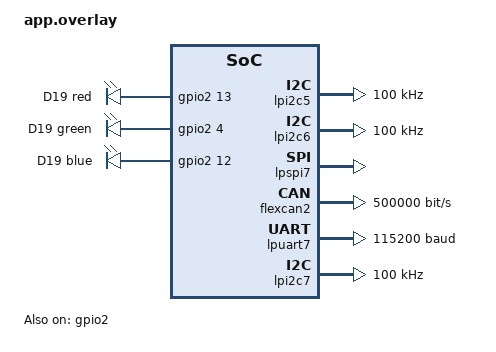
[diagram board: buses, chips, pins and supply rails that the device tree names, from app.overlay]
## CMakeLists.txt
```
# SPDX-License-Identifier: Apache-2.0

cmake_minimum_required(VERSION 3.20.0)
find_package(Zephyr REQUIRED HINTS $ENV{ZEPHYR_BASE})
project(xen_demo)

# The parts register themselves in an iterable section (src/part.h)
zephyr_linker_sources(SECTIONS src/parts.ld)

target_sources(app PRIVATE src/main.c)
target_sources_ifdef(CONFIG_I2C app PRIVATE src/i2c_scan.c)

# One file per part, compiled in with its Kconfig option (Kconfig)
target_sources_ifdef(CONFIG_EPP_LPI2C4 app PRIVATE src/i2c_display.c)
if(CONFIG_EPP_LPI2C5 OR CONFIG_EPP_LPI2C6 OR CONFIG_EPP_LPI2C7)
  target_sources(app PRIVATE src/i2c_header.c)
endif()
target_sources_ifdef(CONFIG_EPP_PCF8574 app PRIVATE src/pcf8574.c)
target_sources_ifdef(CONFIG_EPP_SPI_LOOPBACK app PRIVATE src/spi_loopback.c)
target_sources_ifdef(CONFIG_EPP_W5500 app PRIVATE src/w5500_test.c)
target_sources_ifdef(CONFIG_EPP_W5500_ETH app PRIVATE src/w5500_eth.c)
target_sources_ifdef(CONFIG_EPP_FLEXCAN2 app PRIVATE src/can.c)
target_sources_ifdef(CONFIG_EPP_LPUART7 app PRIVATE src/uart.c)
```

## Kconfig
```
# SPDX-License-Identifier: Apache-2.0
#
# Parts of the epp-v2 Zephyr DomU demo, one source file each (src/,
# CMakeLists.txt). The devices Xen passes through are selected in Dom0
# (epp-passthrough); a part only runs when its device is passed through.

mainmenu "epp-v2 Zephyr DomU demo"

config EPP_LPI2C4
	bool "Display bus (LPI2C4, passthrough option lpi2c4)"
	default $(dt_nodelabel_enabled,lpi2c4)
	depends on $(dt_nodelabel_enabled,lpi2c4)
	help
	  Every 10 s: scan the display bus, read the IT6263 chip ID, write and
	  read back a PCA9632 register. On when the lpi2c4 node in app.overlay
	  is "okay" (disabled by default: the bus belongs to HDMI in Linux).

config EPP_LPI2C5
	bool "40-pin header I2C, pins 27/28 (LPI2C5, passthrough option lpi2c5)"
	default $(dt_nodelabel_enabled,lpi2c5)
	depends on $(dt_nodelabel_enabled,lpi2c5)
	help
	  Every 10 s: scan the bus. On when the lpi2c5 node in app.overlay is
	  "okay".

config EPP_LPI2C6
	bool "40-pin header I2C, pins 3/5 (LPI2C6, passthrough option lpi2c6)"
	default $(dt_nodelabel_enabled,lpi2c6)
	depends on $(dt_nodelabel_enabled,lpi2c6)
	help
	  Every 10 s: scan the bus. On when the lpi2c6 node in app.overlay is
	  "okay".

config EPP_LPI2C7
	bool "40-pin header I2C, pins 31/26 (LPI2C7, passthrough option lpi2c7)"
	default $(dt_nodelabel_enabled,lpi2c7)
	depends on $(dt_nodelabel_enabled,lpi2c7)
	help
	  Every 10 s: scan the bus. On when the lpi2c7 node in app.overlay is
	  "okay".

config EPP_LPSPI7
	bool "40-pin header SPI (LPSPI7, passthrough option lpspi7)"
	default $(dt_nodelabel_enabled,lpspi7)
	depends on $(dt_nodelabel_enabled,lpspi7)
	select SPI
	help
	  Every 10 s: loopback test without chip select (connect MOSI pin 31
	  to MISO pin 29 with a jumper). On when the lpspi7 node in
	  app.overlay is "okay".

config EPP_W5500
	bool "W5500 register test on the header SPI"
	depends on EPP_LPSPI7
	help
	  Every 10 s: read the version (0x04) and PHY state of a WIZnet W5500
	  on LPSPI7 and write and read back its MAC address register. Set by
	  w5500.conf, together with w5500.overlay (the w5500 node).

config EPP_W5500_ETH
	bool "W5500 as second network interface (Zephyr's W5500 driver)"
	depends on EPP_LPSPI7 && !EPP_W5500
	help
	  A WIZnet W5500 on LPSPI7 with Zephyr's Ethernet driver: DHCP on it
	  and its state every 10 s, next to netfront. LPSPI7 then starts at
	  boot: lpspi7 must be passed through and its pins set by U-Boot.
	  Set by extras/w5500-eth.conf, together with
	  extras/w5500-eth.overlay.

config EPP_SPI_LOOPBACK
	bool
	default y
	depends on EPP_LPSPI7 && !EPP_W5500 && !EPP_W5500_ETH
	help
	  The header SPI part without a W5500: loopback test.

config EPP_FLEXCAN2
	bool "CAN2 (FlexCAN2, connector J20, passthrough option flexcan2)"
	default $(dt_nodelabel_enabled,flexcan2)
	depends on $(dt_nodelabel_enabled,flexcan2)
	select CAN
	help
	  CAN at 500 kbit/s: a heartbeat frame 0x123 every second (counter),
	  frames with ID 0x100 are answered with the same data on ID 0x101.
	  Every 10 s the state and counters. On when the flexcan2 node in
	  app.overlay is "okay".

config EPP_FLEXCAN2_LOOPBACK
	bool "CAN2 in loopback mode (no bus needed)"
	depends on EPP_FLEXCAN2
	help
	  Start FlexCAN2 in loopback mode: it receives its own frames
	  internally, without transceiver and bus. Every 10 s the application
	  also sends a request (0x100), so its answer (0x101) is received as
	  well. Set by extras/can-loopback.conf.

config EPP_LPUART7
	bool "40-pin header UART (LPUART7, passthrough option lpuart7)"
	default $(dt_nodelabel_enabled,lpuart7)
	depends on $(dt_nodelabel_enabled,lpuart7)
	select SERIAL
	help
	  Every 10 s: a loopback test at 115200 baud (connect TX pin 24 to RX
	  pin 21 with a wire). On when the lpuart7 node in app.overlay is
	  "okay".

config EPP_PCF8574
	bool "PCF8574 I/O expander module on the header I2C"
	depends on EPP_LPI2C6
	help
	  Drive the pins P0-P7 of a PCF8574 module at 0x20 (not on the board)
	  as GPIOs: one pin high after the other, then all high, then all
	  low, every step read back. Set by extras/pcf8574.conf, together with
	  extras/pcf8574.overlay (the pcf8574 and zephyr,user nodes).

source "Kconfig.zephyr"
```

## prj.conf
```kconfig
CONFIG_EPP_XEN_XENSTORE=y
CONFIG_EPP_XEN_NETFRONT=y

CONFIG_NETWORKING=y
CONFIG_NET_IPV4=y
CONFIG_NET_IPV6=n
CONFIG_NET_UDP=y
CONFIG_NET_TCP=y
CONFIG_NET_DHCPV4=y
CONFIG_NET_MGMT=y
CONFIG_NET_MGMT_EVENT=y

CONFIG_LOG=y
CONFIG_NET_LOG=y
CONFIG_MAIN_STACK_SIZE=4096

# xenvm has no entropy source; DHCP only needs non-cryptographic random
# numbers (transaction ids, backoff). Not for TLS or other crypto.
CONFIG_TEST_RANDOM_GENERATOR=y
CONFIG_TIMER_RANDOM_GENERATOR=y

CONFIG_GPIO=y
CONFIG_I2C=y

# Read the passthrough list from xenstore (epp/passthrough)
CONFIG_EPP_XEN_XENSTORE=y

# Parts of the application (Kconfig): CONFIG_EPP_LPI2C4 .. CONFIG_EPP_LPI2C7
# follow the status of the lpi2c4 .. lpi2c7 nodes in app.overlay (lpi2c4
# disabled by default, it belongs to HDMI; extras/lpi2c4.overlay enables it).
# Optional parts in extras/ (*.overlay + *.conf): PCF8574, W5500 test, W5500
# Ethernet, CAN loopback.
```

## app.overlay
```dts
/*
 * SPDX-License-Identifier: Apache-2.0
 *
 * Devices Xen can pass through to this DomU, at their physical addresses:
 * GPIO2 with the FRDM-IMX95 RGB LED D19 (green GPIO_IO04, blue GPIO_IO12,
 * red GPIO_IO13, active high), always; and any of LPI2C4 (display bus) and
 * the I2C buses of the 40-pin header J19, LPI2C5 (pins 27/28), LPI2C6
 * (pins 3/5) and LPI2C7 (pins 31/26), its SPI, LPSPI7, its UART, LPUART7
 * (pins 24/21), and CAN2 (FlexCAN2, connector J20), selected in Dom0 with
 * epp-passthrough. Accessing a device that is not passed through aborts, so
 * the I2C and SPI buses are not initialized at boot (zephyr,deferred-init): the
 * application starts the ones Dom0 lists in xenstore (epp/passthrough).
 */

#include <zephyr/dt-bindings/gpio/gpio.h>
#include <zephyr/dt-bindings/interrupt-controller/arm-gic.h>
#include <zephyr/dt-bindings/i2c/i2c.h>

/ {
	gpio2: gpio@43810000 {
		compatible = "epp,xen-rgpio";
		reg = <0x00 0x43810000 0x00 0x1000>;
		/* Routed by Xen (partial device tree), same number as on the host */
		interrupts = <GIC_SPI 49 IRQ_TYPE_LEVEL IRQ_DEFAULT_PRIORITY>;
		gpio-controller;
		#gpio-cells = <2>;
		ngpios = <32>;
		status = "okay";
	};

	/*
	 * Display bus: IT6263 HDMI bridge (0x4c, 0x33), PCA9632 (0x62). It
	 * belongs to HDMI in Linux, so it is disabled here; extras/lpi2c4.overlay
	 * enables it and with it its test (CONFIG_EPP_LPI2C4 follows this
	 * status). Then select lpi2c4 with epp-passthrough in Dom0.
	 */
	lpi2c4: i2c@42540000 {
		compatible = "epp,xen-lpi2c";
		reg = <0x00 0x42540000 0x00 0x10000>;
		#address-cells = <1>;
		#size-cells = <0>;
		clock-frequency = <I2C_BITRATE_STANDARD>;
		zephyr,deferred-init;
		status = "disabled";
	};

	/* I2C buses of the 40-pin header J19 */
	lpi2c5: i2c@426b0000 {		/* pin 27 SDA, pin 28 SCL */
		compatible = "epp,xen-lpi2c";
		reg = <0x00 0x426b0000 0x00 0x10000>;
		#address-cells = <1>;
		#size-cells = <0>;
		clock-frequency = <I2C_BITRATE_STANDARD>;
		zephyr,deferred-init;
		status = "okay";
	};

	lpi2c6: i2c@426c0000 {		/* pin 3 SDA, pin 5 SCL */
		compatible = "epp,xen-lpi2c";
		reg = <0x00 0x426c0000 0x00 0x10000>;
		#address-cells = <1>;
		#size-cells = <0>;
		clock-frequency = <I2C_BITRATE_STANDARD>;
		zephyr,deferred-init;
		status = "okay";
		/* Optional PCF8574 test module: extras/pcf8574.overlay */
	};

	/*
	 * SPI of the 40-pin header J19: SCK pin 26, MOSI pin 31, MISO pin 29;
	 * chip select pin 35 (GPIO2 19, driven by the driver), device reset
	 * pin 37 (GPIO2 26). Same pins as lpi2c7: never passed through
	 * together. Optional W5500: extras/w5500.overlay, w5500-eth.overlay
	 */
	lpspi7: spi@42710000 {
		compatible = "epp,xen-lpspi";
		reg = <0x00 0x42710000 0x00 0x10000>;
		#address-cells = <1>;
		#size-cells = <0>;
		cs-gpios = <&gpio2 19 GPIO_ACTIVE_LOW>;
		zephyr,deferred-init;
		status = "okay";
	};

	/*
	 * CAN2, connector J20 (CANH, CANL, GND). Linux keeps CAN5 (J21): wire
	 * J20 to J21 for a bus between the Zephyr DomU and Dom0.
	 */
	flexcan2: can@425b0000 {
		compatible = "epp,xen-flexcan";
		reg = <0x00 0x425b0000 0x00 0x10000>;
		interrupts = <GIC_SPI 38 IRQ_TYPE_LEVEL IRQ_DEFAULT_PRIORITY>;
		bitrate = <500000>;
		sample-point = <875>;
		zephyr,deferred-init;
		status = "okay";
	};

	/* UART of the 40-pin header: pin 24 TX, pin 21 RX */
	lpuart7: serial@42690000 {
		compatible = "epp,xen-lpuart";
		reg = <0x00 0x42690000 0x00 0x1000>;
		current-speed = <115200>;
		zephyr,deferred-init;
		status = "okay";
	};

	lpi2c7: i2c@426d0000 {		/* pin 31 SDA, pin 26 SCL */
		compatible = "epp,xen-lpi2c";
		reg = <0x00 0x426d0000 0x00 0x10000>;
		#address-cells = <1>;
		#size-cells = <0>;
		clock-frequency = <I2C_BITRATE_STANDARD>;
		zephyr,deferred-init;
		status = "okay";
	};

	leds {
		compatible = "gpio-leds";

		led_red: led_red {
			gpios = <&gpio2 13 GPIO_ACTIVE_HIGH>;
			label = "D19 red";
		};

		led_green: led_green {
			gpios = <&gpio2 4 GPIO_ACTIVE_HIGH>;
			label = "D19 green";
		};

		led_blue: led_blue {
			gpios = <&gpio2 12 GPIO_ACTIVE_HIGH>;
			label = "D19 blue";
		};
	};
};
```

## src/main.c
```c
/*
 * SPDX-License-Identifier: Apache-2.0
 *
 * epp-v2 Zephyr DomU demo: the shared Ethernet (netfront, DHCP) and the
 * devices Xen passes through. GPIO2 is always passed through: the RGB LED
 * D19 cycles red, green, blue, white, off. The other devices are selected in
 * Dom0 (epp-passthrough); Dom0 lists them in xenstore (epp/passthrough, e.g.
 * "gpio2,lpi2c6,flexcan2"), and only their parts are started (see part.h and
 * the part files). Every 10 s the state of the network and of every part is
 * printed. Answers pings from the network.
 */

#include <errno.h>
#include <stdio.h>
#include <string.h>
#include <epp/xen/xenstore.h>
#include <zephyr/drivers/gpio.h>
#include <zephyr/kernel.h>
#include <zephyr/net/net_if.h>
#include <zephyr/net/net_ip.h>
#include <zephyr/net/dhcpv4.h>
#include <zephyr/sys/printk.h>
#include <zephyr/sys/util.h>

#include "part.h"

static const struct gpio_dt_spec leds[] = {
	GPIO_DT_SPEC_GET(DT_NODELABEL(led_red), gpios),
	GPIO_DT_SPEC_GET(DT_NODELABEL(led_green), gpios),
	GPIO_DT_SPEC_GET(DT_NODELABEL(led_blue), gpios),
};

static const struct {
	const char *name;
	uint8_t on; /* bit 0 red, 1 green, 2 blue */
} steps[] = {
	{"red", 0x1}, {"green", 0x2}, {"blue", 0x4}, {"white", 0x7}, {"off", 0x0},
};

/* Passthrough list from xenstore, set once by the passthrough thread */
static char passthrough[96] = "(waiting for Dom0)";

bool demo_start_device(const struct device *dev, const char *name)
{
	int ret = device_init(dev);

	if ((ret != 0) && (ret != -EALREADY)) {
		printk("app: %s: init failed (%d)\n", name, ret);
		return false;
	}
	return true;
}

void demo_print_net(struct net_if *iface, const char *label)
{
	struct net_linkaddr *ll = net_if_get_link_addr(iface);
	struct net_in_addr *ip = net_if_ipv4_get_global_addr(iface, NET_ADDR_PREFERRED);
	char addr[NET_IPV4_ADDR_LEN];

	if (ip != NULL) {
		net_addr_ntop(NET_AF_INET, ip, addr, sizeof(addr));
	} else {
		snprintf(addr, sizeof(addr), "none");
	}

	printk("app: %s: carrier %s, mac %02x:%02x:%02x:%02x:%02x:%02x, ipv4 %s\n", label,
	       net_if_is_carrier_ok(iface) ? "on" : "off", ll->addr[0], ll->addr[1], ll->addr[2],
	       ll->addr[3], ll->addr[4], ll->addr[5], addr);
}

/*
 * Wait for the passthrough list from Dom0 (written by epp-v2-dom0less-setup
 * once Dom0 has booted), then start the parts of the listed options. The
 * header pins work only from then on as well: Dom0 sets their pin mux when
 * its Linux boots.
 */
static void passthrough_thread(void *p1, void *p2, void *p3)
{
	char list[sizeof(passthrough)];
	char *save = NULL;
	int ret;

	ARG_UNUSED(p1);
	ARG_UNUSED(p2);
	ARG_UNUSED(p3);

	ret = epp_xs_init(K_SECONDS(120));
	if (ret != 0) {
		snprintf(passthrough, sizeof(passthrough), "(no xenstore: %d)", ret);
		return;
	}
	while (epp_xs_read("epp/passthrough", list, sizeof(list)) < 0) {
		k_msleep(1000);
	}
	strcpy(passthrough, list);

	for (char *option = strtok_r(list, ",", &save); option != NULL;
	     option = strtok_r(NULL, ",", &save)) {
		bool found = (strcmp(option, "gpio2") == 0); /* the LED, main() */

		STRUCT_SECTION_FOREACH(demo_part, part) {
			if (strcmp(part->option, option) == 0) {
				part->start();
				found = true;
			}
		}
		if (!found) {
			printk("app: %s is passed through, but its part is not compiled in "
			       "(Kconfig)\n",
			       option);
		}
	}
}

K_THREAD_DEFINE(pt_thread, 4096, passthrough_thread, NULL, NULL, NULL, 7, 0, 0);

int main(void)
{
	/* netfront, not another network interface (W5500) */
	struct net_if *iface = net_if_lookup_by_dev(device_get_binding("xen-netfront"));
	bool leds_ok = true;

	for (size_t i = 0U; i < ARRAY_SIZE(leds); i++) {
		if (!gpio_is_ready_dt(&leds[i]) ||
		    (gpio_pin_configure_dt(&leds[i], GPIO_OUTPUT_INACTIVE) != 0)) {
			leds_ok = false;
		}
	}
	printk("app: LED %s, network %s\n", leds_ok ? "ready" : "NOT usable",
	       (iface != NULL) ? "ready" : "NOT available");

	if (iface != NULL) {
		net_dhcpv4_start(iface);
	}

	for (uint32_t second = 0U;; second++) {
		size_t s = second % ARRAY_SIZE(steps);

		if (leds_ok) {
			for (size_t i = 0U; i < ARRAY_SIZE(leds); i++) {
				gpio_pin_set_dt(&leds[i], (steps[s].on >> i) & 1U);
			}
		}
		STRUCT_SECTION_FOREACH(demo_part, part) {
			if (part->every_second != NULL) {
				part->every_second(second);
			}
		}
		if ((second % 10U) == 0U) {
			printk("app: [%u] LED %s, passthrough %s\n", second / 10U,
			       leds_ok ? "cycling" : "off", passthrough);
			if (iface != NULL) {
				demo_print_net(iface, "net");
			}
			STRUCT_SECTION_FOREACH(demo_part, part) {
				if (part->report != NULL) {
					part->report(second / 10U);
				}
			}
		}
		k_msleep(1000);
	}

	return 0;
}
```

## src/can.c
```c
/*
 * SPDX-License-Identifier: Apache-2.0
 *
 * Part flexcan2 (CONFIG_EPP_FLEXCAN2): CAN2, connector J20, 500 kbit/s. A
 * heartbeat frame 0x123 every second (counter, big endian); frames with ID
 * 0x100 are answered on 0x101 with the same data; every 10 s the state and
 * counters. With CONFIG_EPP_FLEXCAN2_LOOPBACK (extras/can-loopback.conf) in
 * loopback mode: own frames are received, and every 10 s a request 0x100 is
 * sent to itself.
 */

#include <zephyr/drivers/can.h>
#include <zephyr/kernel.h>
#include <zephyr/sys/byteorder.h>
#include <zephyr/sys/printk.h>

#include "part.h"

#define CAN_ID_HEARTBEAT 0x123
#define CAN_ID_REQUEST   0x100
#define CAN_ID_ANSWER    0x101

static const struct device *const can_dev = DEVICE_DT_GET(DT_NODELABEL(flexcan2));
static atomic_t on;
static atomic_t tx_count;
static atomic_t rx_count;
static struct can_frame last; /* last received frame, under lock */
static struct k_spinlock lock;
K_MSGQ_DEFINE(requests, sizeof(struct can_frame), 4, 4);

/*
 * Sending never blocks: with a callback can_send() returns as soon as the
 * frame is in the transmit mailbox. Without one it would wait until the
 * frame is sent, which is forever while no other node acknowledges (Linux's
 * can0 down, no wiring): the controller keeps retransmitting.
 */
static void sent(const struct device *dev, int error, void *user_data)
{
	ARG_UNUSED(dev);
	ARG_UNUSED(user_data);
	if (error == 0) {
		atomic_inc(&tx_count);
	}
}

static void answer(struct k_work *work)
{
	struct can_frame frame;

	ARG_UNUSED(work);
	while (k_msgq_get(&requests, &frame, K_NO_WAIT) == 0) {
		frame.id = CAN_ID_ANSWER;
		(void)can_send(can_dev, &frame, K_MSEC(100), sent, NULL);
	}
}

static K_WORK_DEFINE(answer_work, answer);

/* Runs in the driver's interrupt handler */
static void received(const struct device *dev, struct can_frame *frame, void *user_data)
{
	k_spinlock_key_t key = k_spin_lock(&lock);

	ARG_UNUSED(dev);
	ARG_UNUSED(user_data);
	last = *frame;
	k_spin_unlock(&lock, key);
	atomic_inc(&rx_count);

	if (((frame->flags & CAN_FRAME_IDE) == 0U) && (frame->id == CAN_ID_REQUEST) &&
	    (k_msgq_put(&requests, frame, K_NO_WAIT) == 0)) {
		k_work_submit(&answer_work);
	}
}

static void can_part_start(void)
{
	const struct can_filter all_std = {.id = 0, .mask = 0, .flags = 0};
	const struct can_filter all_ext = {.id = 0, .mask = 0, .flags = CAN_FILTER_IDE};
	int ret;

	if (!demo_start_device(can_dev, "flexcan2")) {
		return;
	}
	if (IS_ENABLED(CONFIG_EPP_FLEXCAN2_LOOPBACK)) {
		ret = can_set_mode(can_dev, CAN_MODE_LOOPBACK);
		if (ret != 0) {
			printk("app: can: loopback mode failed (%d)\n", ret);
			return;
		}
	}
	if ((can_add_rx_filter(can_dev, received, NULL, &all_std) < 0) ||
	    (can_add_rx_filter(can_dev, received, NULL, &all_ext) < 0)) {
		printk("app: can: adding filters failed\n");
		return;
	}
	ret = can_start(can_dev);
	if (ret != 0) {
		printk("app: can: start failed (%d)\n", ret);
		return;
	}
	atomic_set(&on, 1);
}

static void heartbeat(uint32_t second)
{
	struct can_frame frame = {.id = CAN_ID_HEARTBEAT, .dlc = 4};

	if (!atomic_get(&on)) {
		return;
	}
	sys_put_be32(second, frame.data);
	/* Skipped while the previous frame is still pending */
	(void)can_send(can_dev, &frame, K_NO_WAIT, sent, NULL);
}

static void can_part_report(uint32_t round)
{
	static const char *const names[] = {"error-active", "error-warning", "error-passive",
					    "bus-off", "stopped"};
	struct can_bus_err_cnt cnt = {0};
	enum can_state state = CAN_STATE_STOPPED;
	struct can_frame frame;
	k_spinlock_key_t key;

	ARG_UNUSED(round);
	if (!atomic_get(&on)) {
		return;
	}
	if (IS_ENABLED(CONFIG_EPP_FLEXCAN2_LOOPBACK)) {
		/* A request to ourselves: received, answered on 0x101, received */
		struct can_frame request = {.id = CAN_ID_REQUEST, .dlc = 2, .data = {0xca, 0xfe}};

		(void)can_send(can_dev, &request, K_MSEC(100), sent, NULL);
	}
	(void)can_get_state(can_dev, &state, &cnt);
	key = k_spin_lock(&lock);
	frame = last;
	k_spin_unlock(&lock, key);

	printk("app: can (J20%s): %s (tx err %u, rx err %u), sent %ld, received %ld",
	       IS_ENABLED(CONFIG_EPP_FLEXCAN2_LOOPBACK) ? ", loopback" : "", names[state],
	       cnt.tx_err_cnt, cnt.rx_err_cnt, (long)atomic_get(&tx_count),
	       (long)atomic_get(&rx_count));
	if (atomic_get(&rx_count) > 0) {
		printk(", last 0x%03x [%u]", frame.id, frame.dlc);
		for (uint8_t i = 0U; i < frame.dlc; i++) {
			printk(" %02x", frame.data[i]);
		}
	}
	printk("\n");
}

DEMO_PART(p5_flexcan2, .option = "flexcan2", .start = can_part_start, .every_second = heartbeat,
	  .report = can_part_report);
```

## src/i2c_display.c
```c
/*
 * SPDX-License-Identifier: Apache-2.0
 *
 * Part lpi2c4 (CONFIG_EPP_LPI2C4): the display bus. Every 10 s a scan, the
 * IT6263 chip ID (0x4c) and a write and read back of a PCA9632 register
 * (0x62).
 */

#include <string.h>
#include <zephyr/drivers/i2c.h>
#include <zephyr/sys/atomic.h>
#include <zephyr/sys/printk.h>

#include "part.h"

#define IT6263_HDMI_ADDR 0x4c
#define PCA9632_ADDR     0x62
#define PCA9632_PWM0     0x02

static const struct device *const bus = DEVICE_DT_GET(DT_NODELABEL(lpi2c4));
static atomic_t on;

static void display_start(void)
{
	if (demo_start_device(bus, "lpi2c4")) {
		atomic_set(&on, 1);
	}
}

static void display_report(uint32_t round)
{
	static const uint8_t hdmi_id[4] = {0x01, 0xca, 0x13, 0x76};
	uint8_t pattern = (round & 1U) ? 0xa5 : 0x5a;
	uint8_t reg = 0x00;
	uint8_t id[4];
	uint8_t old, back;

	if (!atomic_get(&on)) {
		return;
	}
	demo_i2c_scan(bus, "display i2c");

	bool id_ok = (i2c_write_read(bus, IT6263_HDMI_ADDR, &reg, 1, id, sizeof(id)) == 0) &&
		     (memcmp(id, hdmi_id, sizeof(id)) == 0);
	bool rw_ok = (i2c_reg_read_byte(bus, PCA9632_ADDR, PCA9632_PWM0, &old) == 0) &&
		     (i2c_reg_write_byte(bus, PCA9632_ADDR, PCA9632_PWM0, pattern) == 0) &&
		     (i2c_reg_read_byte(bus, PCA9632_ADDR, PCA9632_PWM0, &back) == 0) &&
		     (back == pattern) &&
		     (i2c_reg_write_byte(bus, PCA9632_ADDR, PCA9632_PWM0, old) == 0);

	printk("app: display i2c: IT6263 ID %s, PCA9632 write/read 0x%02x %s\n",
	       id_ok ? "OK" : "FAILED", pattern, rw_ok ? "OK" : "FAILED");
}

DEMO_PART(p1_lpi2c4, .option = "lpi2c4", .start = display_start, .report = display_report);
```

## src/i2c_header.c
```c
/*
 * SPDX-License-Identifier: Apache-2.0
 *
 * Parts lpi2c5, lpi2c6, lpi2c7 (CONFIG_EPP_LPI2C5/6/7): the I2C buses of
 * the 40-pin header J19, pins 27/28, 3/5 and 31/26. Every 10 s a scan.
 */

#include <zephyr/sys/atomic.h>
#include <zephyr/sys/util.h>

#include "part.h"

/* One part per bus, compiled in when its Kconfig option is on */
#define HEADER_I2C(n, pins)                                                                        \
	static const struct device *const bus##n = DEVICE_DT_GET(DT_NODELABEL(lpi2c##n));         \
	static atomic_t on##n;                                                                     \
	static void start##n(void)                                                                 \
	{                                                                                          \
		if (demo_start_device(bus##n, "lpi2c" #n)) {                                       \
			atomic_set(&on##n, 1);                                                     \
		}                                                                                  \
	}                                                                                          \
	static void report##n(uint32_t round)                                                      \
	{                                                                                          \
		ARG_UNUSED(round);                                                                 \
		if (atomic_get(&on##n)) {                                                          \
			demo_i2c_scan(bus##n, "header i2c (J19 pins " pins ")");                   \
		}                                                                                  \
	}                                                                                          \
	DEMO_PART(p2_lpi2c##n, .option = "lpi2c" #n, .start = start##n, .report = report##n);

IF_ENABLED(CONFIG_EPP_LPI2C5, (HEADER_I2C(5, "27/28")))
IF_ENABLED(CONFIG_EPP_LPI2C6, (HEADER_I2C(6, "3/5")))
IF_ENABLED(CONFIG_EPP_LPI2C7, (HEADER_I2C(7, "31/26")))
```

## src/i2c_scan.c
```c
/*
 * SPDX-License-Identifier: Apache-2.0
 *
 * I2C bus scan, shared by the I2C parts.
 */

#include <errno.h>
#include <zephyr/drivers/i2c.h>
#include <zephyr/sys/printk.h>

#include "part.h"

void demo_i2c_scan(const struct device *bus, const char *label)
{
	int found = 0;

	printk("app: %s:", label);
	for (uint16_t addr = 0x08; addr <= 0x77; addr++) {
		/* Address only, no data: the device answers with ACK or not */
		int ret = i2c_write(bus, NULL, 0, addr);

		if (ret == 0) {
			printk(" 0x%02x", addr);
			found++;
		} else if (ret != -ENXIO) {
			/* Not a NACK: bus stuck (no pull-ups?), stop the scan */
			printk(" bus error %d at 0x%02x, check wiring and pull-ups\n", ret, addr);
			return;
		}
	}
	printk("%s\n", (found == 0) ? " no devices" : "");
}
```

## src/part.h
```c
/*
 * SPDX-License-Identifier: Apache-2.0
 *
 * A part of the demo: a device Xen can pass through, with its test. Each
 * part file defines one or more parts with DEMO_PART(); CMakeLists.txt
 * compiles a part file only when its Kconfig option is on. main.c starts the
 * parts whose passthrough option Dom0 lists and calls their functions.
 */

#ifndef XEN_DEMO_PART_H_
#define XEN_DEMO_PART_H_

#include <stdbool.h>
#include <stdint.h>
#include <zephyr/device.h>
#include <zephyr/net/net_if.h>
#include <zephyr/sys/iterable_sections.h>

struct demo_part {
	/* Passthrough option that enables the part (epp-passthrough) */
	const char *option;
	/* Once Dom0 lists the option; runs in the passthrough thread */
	void (*start)(void);
	/* Every second / every 10 s in the main thread; may be NULL */
	void (*every_second)(uint32_t second);
	void (*report)(uint32_t round);
};

/* Parts run in the order of @p id (sorted by name) */
#define DEMO_PART(id, ...) static const STRUCT_SECTION_ITERABLE(demo_part, id) = {__VA_ARGS__}

/* Helpers in main.c */

/* Initialize a device marked zephyr,deferred-init (once passed through) */
bool demo_start_device(const struct device *dev, const char *name);

/* One line with the state, MAC and IPv4 address of @p iface */
void demo_print_net(struct net_if *iface, const char *label);

/* Helper in i2c_scan.c */

/* One line with the addresses that answer on I2C bus @p bus */
void demo_i2c_scan(const struct device *bus, const char *label);

#endif /* XEN_DEMO_PART_H_ */
```

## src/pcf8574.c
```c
/*
 * SPDX-License-Identifier: Apache-2.0
 *
 * Part PCF8574 on lpi2c6 (CONFIG_EPP_PCF8574, extras/pcf8574.overlay): a
 * PCF8574 I/O expander module at 0x20 on header pins 3/5, its pins P0-P7
 * driven as GPIOs. One pin high after the other (the others low), then all
 * high, then all low, 500 ms per step, every step read back: a high output
 * is the PCF8574's weak pull-up, so a pin pulled low from outside reads back
 * low and counts as an error.
 */

#include <zephyr/drivers/gpio.h>
#include <zephyr/kernel.h>
#include <zephyr/sys/printk.h>

#include "part.h"

BUILD_ASSERT(DT_NODE_HAS_PROP(DT_PATH(zephyr_user), pcf8574_gpios),
	     "CONFIG_EPP_PCF8574 needs extras/pcf8574.overlay (pcf8574 and zephyr,user nodes)");

/* PCF8574 P0-P7, from pcf8574-gpios of the zephyr,user node */
#define PCF_GPIO(node, prop, idx) GPIO_DT_SPEC_GET_BY_IDX(node, prop, idx),
static const struct gpio_dt_spec pins[] = {
	DT_FOREACH_PROP_ELEM(DT_PATH(zephyr_user), pcf8574_gpios, PCF_GPIO)};

static atomic_t steps;
static atomic_t errors;
static atomic_t ready_s; /* seconds until the PCF8574 answered */
static atomic_t on;

static void walk(void *p1, void *p2, void *p3)
{
	ARG_UNUSED(p1);
	ARG_UNUSED(p2);
	ARG_UNUSED(p3);

	/* The driver only writes pins configured as outputs */
	for (uint32_t s = 1U;; s++) {
		bool ok = true;

		for (size_t pin = 0U; ok && (pin < ARRAY_SIZE(pins)); pin++) {
			ok = (gpio_pin_configure_dt(&pins[pin], GPIO_OUTPUT_INACTIVE) == 0);
		}
		if (ok) {
			atomic_set(&ready_s, s);
			break;
		}
		k_msleep(1000);
	}

	for (uint32_t step = 0U;; step++) {
		uint32_t s = step % 10U;
		uint32_t out = (s < 8U) ? BIT(s) : ((s == 8U) ? 0xffU : 0x00U);
		uint32_t in = 0U;
		bool ok = true;

		for (size_t pin = 0U; pin < ARRAY_SIZE(pins); pin++) {
			ok = ok && (gpio_pin_set_dt(&pins[pin], (out >> pin) & 1U) == 0);
		}
		for (size_t pin = 0U; ok && (pin < ARRAY_SIZE(pins)); pin++) {
			int val = gpio_pin_get_dt(&pins[pin]);

			ok = (val >= 0);
			in |= (uint32_t)(val > 0) << pin;
		}
		if (!ok || (in != out)) {
			atomic_inc(&errors);
			printk("app: PCF8574 step %u: wrote 0x%02x read 0x%02x\n", s,
			       (unsigned int)out, (unsigned int)in);
		}
		atomic_inc(&steps);
		k_msleep(500);
	}
}

K_THREAD_DEFINE(pcf8574_thread, 2048, walk, NULL, NULL, NULL, 7, 0, SYS_FOREVER_MS);

static void pcf8574_start(void)
{
	/* After the bus (part p2_lpi2c6) */
	if (demo_start_device(DEVICE_DT_GET(DT_NODELABEL(lpi2c6)), "lpi2c6") &&
	    demo_start_device(pins[0].port, "PCF8574")) {
		atomic_set(&on, 1);
		k_thread_start(pcf8574_thread);
	}
}

static void pcf8574_report(uint32_t round)
{
	ARG_UNUSED(round);
	if (atomic_get(&on)) {
		printk("app: PCF8574 P0-P7 walk: %ld steps, %ld errors (ready after %ld s)\n",
		       (long)atomic_get(&steps), (long)atomic_get(&errors),
		       (long)atomic_get(&ready_s));
	}
}

DEMO_PART(p3_pcf8574, .option = "lpi2c6", .start = pcf8574_start, .report = pcf8574_report);
```

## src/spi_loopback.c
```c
/*
 * SPDX-License-Identifier: Apache-2.0
 *
 * Part lpspi7 (CONFIG_EPP_LPSPI7, without a W5500): the SPI of the 40-pin
 * header. Every 10 s a loopback test without chip select: a jumper from
 * MOSI (pin 31) to MISO (pin 29).
 */

#include <string.h>
#include <zephyr/drivers/spi.h>
#include <zephyr/sys/atomic.h>
#include <zephyr/sys/printk.h>

#include "part.h"

static const struct device *const bus = DEVICE_DT_GET(DT_NODELABEL(lpspi7));
static atomic_t on;

static const struct spi_config loop_cfg = {
	.frequency = 1000000U,
	.operation = SPI_OP_MODE_CONTROLLER | SPI_WORD_SET(8) | SPI_TRANSFER_MSB,
};

static void loopback_start(void)
{
	if (demo_start_device(bus, "lpspi7")) {
		atomic_set(&on, 1);
	}
}

static void loopback_report(uint32_t round)
{
	uint8_t out[8] = {0x55, 0xaa, 0x00, 0xff, (uint8_t)round, (uint8_t)~round, 0x5a, 0xa5};
	uint8_t in[8] = {0};
	struct spi_buf tx_buf = {.buf = out, .len = sizeof(out)};
	struct spi_buf rx_buf = {.buf = in, .len = sizeof(in)};
	const struct spi_buf_set tx = {.buffers = &tx_buf, .count = 1U};
	const struct spi_buf_set rx = {.buffers = &rx_buf, .count = 1U};
	int ret;

	if (!atomic_get(&on)) {
		return;
	}
	ret = spi_transceive(bus, &loop_cfg, &tx, &rx);
	if (ret != 0) {
		printk("app: header spi: transfer failed (%d)\n", ret);
	} else if (memcmp(out, in, sizeof(out)) == 0) {
		printk("app: header spi: loopback OK (8 bytes)\n");
	} else {
		printk("app: header spi: no loopback, read %02x %02x %02x %02x (jumper MOSI pin 31 "
		       "- MISO pin 29?)\n",
		       in[0], in[1], in[2], in[3]);
	}
}

DEMO_PART(p4_lpspi7, .option = "lpspi7", .start = loopback_start, .report = loopback_report);
```

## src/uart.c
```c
/*
 * SPDX-License-Identifier: Apache-2.0
 *
 * Part lpuart7 (CONFIG_EPP_LPUART7): the UART of the 40-pin header. Every
 * 10 s a loopback test at 115200 baud (wire from TX pin 24 to RX pin 21):
 * every byte sent must come back within a few character times (one byte:
 * 87 us).
 */

#include <stdio.h>
#include <zephyr/drivers/uart.h>
#include <zephyr/kernel.h>
#include <zephyr/sys/printk.h>

#include "part.h"

static const struct device *const uart = DEVICE_DT_GET(DT_NODELABEL(lpuart7));
static atomic_t on;

static void uart_part_start(void)
{
	if (demo_start_device(uart, "lpuart7")) {
		atomic_set(&on, 1);
	}
}

static void uart_part_report(uint32_t round)
{
	char line[32];
	int len = snprintf(line, sizeof(line), "epp-v2 uart %u\r\n", round);
	unsigned char c;
	int ok = 0;

	if (!atomic_get(&on)) {
		return;
	}
	while (uart_poll_in(uart, &c) == 0) {
		/* drop old input */
	}
	(void)uart_err_check(uart);

	for (int i = 0; i < len; i++) {
		int64_t end = k_uptime_get() + 5;
		int got = -1;

		uart_poll_out(uart, line[i]);
		while ((got = uart_poll_in(uart, &c)) != 0) {
			if (k_uptime_get() > end) {
				break;
			}
		}
		if ((got != 0) || (c != (unsigned char)line[i])) {
			break;
		}
		ok++;
	}

	if (ok == len) {
		printk("app: header uart (pins 24/21): loopback OK (%d bytes, 115200 baud)\n", len);
	} else {
		printk("app: header uart (pins 24/21): no loopback after %d of %d bytes, errors 0x%x "
		       "(wire TX pin 24 - RX pin 21?)\n",
		       ok, len, uart_err_check(uart));
	}
}

DEMO_PART(p6_lpuart7, .option = "lpuart7", .start = uart_part_start, .report = uart_part_report);
```

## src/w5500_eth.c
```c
/*
 * SPDX-License-Identifier: Apache-2.0
 *
 * Part lpspi7 with the W5500 as network interface (CONFIG_EPP_W5500_ETH,
 * extras/w5500-eth.overlay): Zephyr's W5500 Ethernet driver; LPSPI7 and the
 * driver start at boot (pins set by U-Boot). DHCP on it, its state every
 * 10 s.
 */

#include <zephyr/net/net_if.h>
#include <zephyr/net/dhcpv4.h>
#include <zephyr/sys/printk.h>

#include "part.h"

BUILD_ASSERT(DT_NODE_EXISTS(DT_NODELABEL(w5500_eth)),
	     "CONFIG_EPP_W5500_ETH needs extras/w5500-eth.overlay");

static struct net_if *w5500_iface(void)
{
	return net_if_lookup_by_dev(DEVICE_DT_GET(DT_NODELABEL(w5500_eth)));
}

static void w5500_eth_start(void)
{
	if (w5500_iface() != NULL) {
		net_dhcpv4_start(w5500_iface());
	}
}

static void w5500_eth_report(uint32_t round)
{
	ARG_UNUSED(round);
	if (w5500_iface() != NULL) {
		demo_print_net(w5500_iface(), "w5500");
	} else {
		printk("app: w5500: no network interface (driver not ready)\n");
	}
}

DEMO_PART(p4_lpspi7, .option = "lpspi7", .start = w5500_eth_start, .report = w5500_eth_report);
```

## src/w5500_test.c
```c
/*
 * SPDX-License-Identifier: Apache-2.0
 *
 * Part lpspi7 with a W5500 (CONFIG_EPP_W5500, extras/w5500.overlay): a
 * WIZnet W5500 Ethernet module on the header SPI, register test without
 * Ethernet driver. Every 10 s its version (0x04), PHY state and a write and
 * read back of its MAC address register.
 */

#include <string.h>
#include <zephyr/drivers/gpio.h>
#include <zephyr/drivers/spi.h>
#include <zephyr/kernel.h>
#include <zephyr/sys/printk.h>

#include "part.h"

BUILD_ASSERT(DT_NODE_EXISTS(DT_NODELABEL(w5500)), "CONFIG_EPP_W5500 needs extras/w5500.overlay");

#define W5500_SPI_OP     (SPI_OP_MODE_CONTROLLER | SPI_WORD_SET(8) | SPI_TRANSFER_MSB)
#define W5500_SHAR       0x0009 /* MAC address, 6 bytes */
#define W5500_PHYCFGR    0x002e
#define W5500_VERSIONR   0x0039
#define W5500_CTRL_WRITE BIT(2) /* common register block, variable length */

static const struct spi_dt_spec w5500 = SPI_DT_SPEC_GET(DT_NODELABEL(w5500), W5500_SPI_OP);
static const struct gpio_dt_spec reset = GPIO_DT_SPEC_GET_OR(DT_NODELABEL(w5500), reset_gpios, {0});
static atomic_t on;

/* W5500 SPI frame: 16-bit address, control byte, data */
static int w5500_access(uint16_t addr, bool write, uint8_t *data, size_t len)
{
	uint8_t hdr[3] = {addr >> 8, addr & 0xffU, write ? W5500_CTRL_WRITE : 0x00U};
	struct spi_buf tx_bufs[2] = {{.buf = hdr, .len = sizeof(hdr)}, {.buf = data, .len = len}};
	struct spi_buf rx_bufs[2] = {{.buf = NULL, .len = sizeof(hdr)}, {.buf = data, .len = len}};
	const struct spi_buf_set tx = {.buffers = tx_bufs, .count = write ? 2U : 1U};
	const struct spi_buf_set rx = {.buffers = rx_bufs, .count = 2U};

	return write ? spi_write_dt(&w5500, &tx) : spi_transceive_dt(&w5500, &tx, &rx);
}

static void w5500_start(void)
{
	if (!demo_start_device(w5500.bus, "lpspi7")) {
		return;
	}
	if ((reset.port != NULL) && (gpio_pin_configure_dt(&reset, GPIO_OUTPUT_ACTIVE) == 0)) {
		k_msleep(1);
		gpio_pin_set_dt(&reset, 0);
		k_msleep(100); /* PLL lock after reset: max. 1 ms, link setup longer */
	}
	atomic_set(&on, 1);
}

static void w5500_report(uint32_t round)
{
	uint8_t version = 0U, phy = 0U;
	uint8_t mac[6] = {0x02, 0x00, 0x5e, 0x10, (uint8_t)(round >> 8), (uint8_t)round};
	uint8_t back[6] = {0};

	if (!atomic_get(&on)) {
		return;
	}

	bool ok = (w5500_access(W5500_VERSIONR, false, &version, 1) == 0) &&
		  (w5500_access(W5500_PHYCFGR, false, &phy, 1) == 0);
	bool mac_ok = ok && (w5500_access(W5500_SHAR, true, mac, sizeof(mac)) == 0) &&
		      (w5500_access(W5500_SHAR, false, back, sizeof(back)) == 0) &&
		      (memcmp(mac, back, sizeof(mac)) == 0);

	if (!ok) {
		printk("app: header spi: W5500 not answering\n");
		return;
	}
	printk("app: header spi: W5500 version 0x%02x %s, link %s%s, MAC write/read %s\n",
	       version, (version == 0x04U) ? "OK" : "unexpected",
	       ((phy & BIT(0)) != 0U) ? "up " : "down",
	       ((phy & BIT(0)) != 0U) ? (((phy & BIT(1)) != 0U) ? "100M" : "10M") : "",
	       mac_ok ? "OK" : "FAILED");
}

DEMO_PART(p4_lpspi7, .option = "lpspi7", .start = w5500_start, .report = w5500_report);
```
